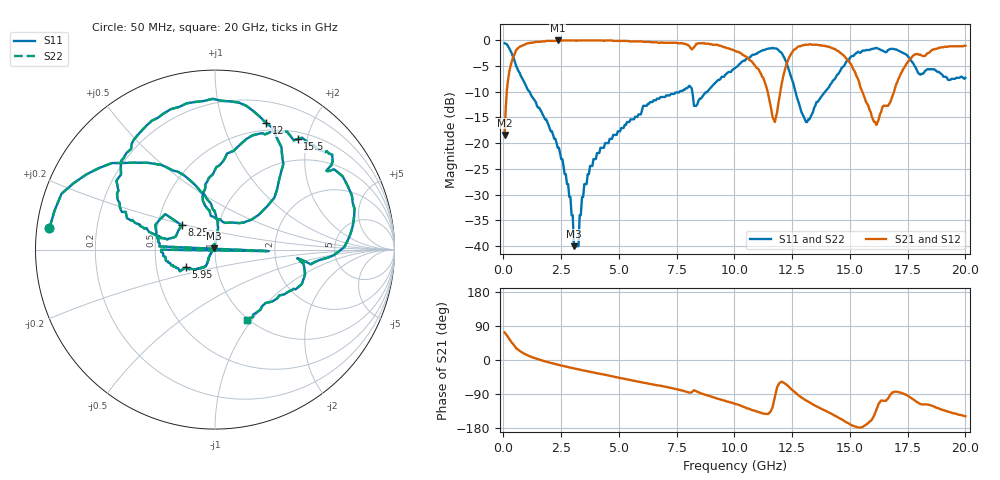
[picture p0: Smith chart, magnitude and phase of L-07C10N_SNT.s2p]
#	mhz	s	ma	r	50
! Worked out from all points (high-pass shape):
!   400 points, 50 MHz to 20 GHz, reference 50 ohm
!   highest |S21| = -0.09 dB at 2.35 GHz (marker M1); lowest = -18.4 dB at 50 MHz (marker M2)
!   |S21| within 3 dB of the highest: 450.9 MHz to 10.45 GHz (9.995 GHz wide, 183 % of centre); 12.4 GHz to 14.75 GHz (2.346 GHz wide, 17.3 % of centre) (the widest 2 of 4)
!   lowest |S11| = -40.0 dB at 3.05 GHz (marker M3), VSWR 1.02, Z = 49.4 + j0.777 ohm
!   |S11| at or under -10 dB: 1.119 GHz to 7.631 GHz (6.513 GHz wide, 149 % of centre); 8.173 GHz to 8.831 GHz (658.5 MHz wide, 7.75 % of centre); 12.64 GHz to 13.93 GHz (1.292 GHz wide, 9.73 % of centre)
!   |S22| runs from -40.0 to -0.6 dB; largest |S21 - S12| = 0
!   S11 on the Smith chart (normalised r, x): 50 MHz: 0.04, +0.06; 5.95 GHz: 0.71, -0.15; 8.25 GHz: 0.67, +0.19; 12 GHz: 0.42, +1.40; 15.5 GHz: 0.61, +1.84; 20 GHz: 0.99, -0.95
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50  0.93 172.7  0.12 72.7  0.12 72.7  0.93 172.7
550  0.56 122.5  0.8 31.1  0.8 31.1  0.56 122.5
2350  0.09 81.5  0.99 -12.2  0.99 -12.2  0.09 81.5
3050  0.01 128.1  0.99 -22.0  0.99 -22.0  0.01 128.1
3400  0.03 -140.0  0.99 -26.8  0.99 -26.8  0.03 -140.0
5950  0.19 -148.6  0.97 -58.3  0.97 -58.3  0.19 -148.6
6700  0.27 -165.2  0.94 -67.0  0.94 -67.0  0.27 -165.2
7350  0.3 -179.9  0.94 -74.9  0.94 -74.9  0.3 -179.9
7400  0.3 -1.6  0.94 -75.6  0.94 -75.6  0.3 -1.6
7450  0.31 176.7  0.94 -76.2  0.94 -76.2  0.31 176.7
8250  0.23 143.8  0.85 -79.8  0.85 -79.8  0.23 143.8
10050  0.54 157.1  0.78 -116.3  0.78 -116.3  0.54 157.1
11050  0.76 126.7  0.52 -137.6  0.52 -137.6  0.76 126.7
11750  0.83 84.0  0.16 -98.2  0.16 -98.2  0.83 84.0
12000  0.76 68.0  0.33 -58.8  0.33 -58.8  0.76 68.0
12600  0.34 39.1  0.81 -84.4  0.81 -84.4  0.34 39.1
13350  0.19 97.2  0.9 -115.7  0.9 -115.7  0.19 97.2
14500  0.47 87.0  0.78 -152.1  0.78 -152.1  0.47 87.0
15500  0.77 53.2  0.33 -177.6  0.33 -177.6  0.77 53.2
16700  0.81 31.9  0.24 -96.5  0.24 -96.5  0.81 31.9
17750  0.59 -5.5  0.71 -103.9  0.71 -103.9  0.59 -5.5
20000  0.43 -65.4  0.88 -148.3  0.88 -148.3  0.43 -65.4
